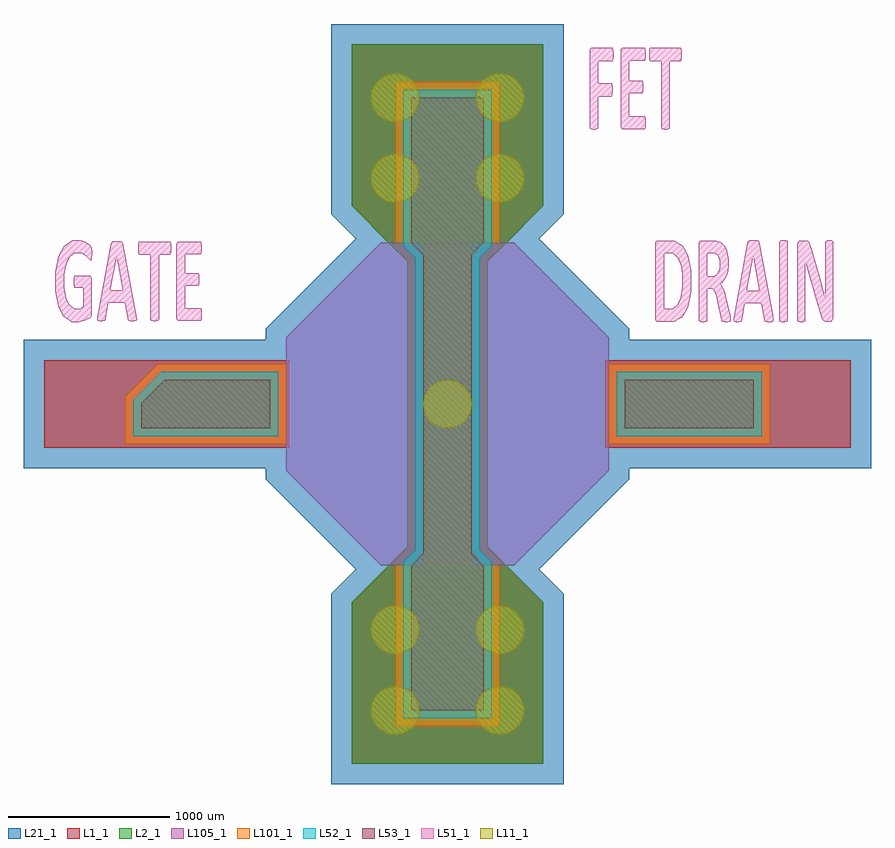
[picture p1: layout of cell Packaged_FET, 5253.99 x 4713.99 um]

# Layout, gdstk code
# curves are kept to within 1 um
import gdstk
lib = gdstk.Library(unit=1e-6, precision=1e-09)
def R(c, l, rs):  # rectangles x0, y0, x1, y1
    for r in rs: c.add(gdstk.rectangle(r[:2], r[2:], *l))
def P(c, l, *ps):  # polygons
    for p in ps: c.add(gdstk.Polygon(p, *l))
L1_1 = (1, 1)
L2_1 = (2, 1)
L11_1 = (11, 1)
L21_1 = (21, 1)
L51_1 = (51, 1)
L52_1 = (52, 1)
L53_1 = (53, 1)
L101_1 = (101, 1)
L105_1 = (105, 1)

packaged_fet = lib.new_cell('Packaged_FET')
R(packaged_fet, L1_1, [(0,-270.002,1519.936,270.002), (3479.927,-270.002,4999.99,270.002)])
P(packaged_fet, L1_1, [(2154.936,-980.059),(1905,-1229.995),(1905,-2229.993),(3094.99,-2229.993),(3094.99,-1229.995),(2749.931,-885.063),(2749.931,884.936),(3094.99,1229.995),(3094.99,2229.993),(1905,2229.993),(1905,1229.995),(2249.932,884.936),(2249.932,-885.063)])
P(packaged_fet, L2_1, [(2154.936,-980.059),(1905,-1229.995),(1905,-2229.993),(3094.99,-2229.993),(3094.99,-1229.995),(2749.931,-885.063),(2749.931,884.936),(3094.99,1229.995),(3094.99,2229.993),(1905,2229.993),(1905,1229.995),(2249.932,884.936),(2249.932,-885.063)])
P(packaged_fet, L11_1, [(2024.888,1399.921),(2027.174,1373.886),(2034.032,1348.613),(2045.081,1324.991),(2060.067,1303.528),(2078.482,1285.113),(2099.945,1270),(2123.694,1258.951),(2148.84,1252.22),(2174.875,1249.934),(2201.037,1252.22),(2226.183,1258.951),(2249.932,1270),(2271.395,1285.113),(2289.81,1303.528),(2304.796,1324.991),(2315.845,1348.613),(2322.703,1373.886),(2324.989,1399.921),(2322.703,1425.956),(2315.845,1451.229),(2304.796,1474.978),(2289.81,1496.314),(2271.395,1514.856),(2249.932,1529.842),(2226.183,1540.891),(2201.037,1547.622),(2174.875,1549.908),(2148.84,1547.622),(2123.567,1540.891),(2099.945,1529.842),(2078.482,1514.856),(2060.067,1496.314),(2045.081,1474.978),(2034.032,1451.229),(2027.174,1425.956)],
  [(2024.888,-1900.047),(2027.174,-1926.082),(2034.032,-1951.355),(2045.081,-1974.977),(2060.067,-1996.44),(2078.482,-2014.982),(2099.945,-2029.968),(2123.694,-2041.017),(2148.84,-2047.748),(2174.875,-2050.034),(2201.037,-2047.748),(2226.183,-2041.017),(2249.932,-2029.968),(2271.395,-2014.982),(2289.81,-1996.44),(2304.796,-1974.977),(2315.845,-1951.355),(2322.703,-1926.082),(2324.989,-1900.047),(2322.703,-1874.012),(2315.845,-1848.739),(2304.796,-1824.99),(2289.81,-1803.654),(2271.395,-1785.112),(2249.932,-1770.126),(2226.183,-1759.077),(2201.037,-1752.346),(2174.875,-1750.06),(2148.84,-1752.346),(2123.567,-1759.077),(2099.945,-1770.126),(2078.482,-1785.112),(2060.067,-1803.654),(2045.081,-1824.99),(2034.032,-1848.739),(2027.174,-1874.012)],
  [(2024.888,1899.92),(2027.174,1873.885),(2034.032,1848.612),(2045.081,1824.99),(2060.067,1803.527),(2078.482,1785.112),(2099.945,1769.999),(2123.694,1758.95),(2148.84,1752.219),(2174.875,1749.933),(2201.037,1752.219),(2226.183,1758.95),(2249.932,1769.999),(2271.395,1785.112),(2289.81,1803.527),(2304.796,1824.99),(2315.845,1848.612),(2322.703,1873.885),(2324.989,1899.92),(2322.703,1925.955),(2315.845,1951.228),(2304.796,1974.977),(2289.81,1996.313),(2271.395,2014.855),(2249.932,2029.841),(2226.183,2040.89),(2201.037,2047.621),(2174.875,2049.907),(2148.84,2047.621),(2123.567,2040.89),(2099.945,2029.841),(2078.482,2014.855),(2060.067,1996.313),(2045.081,1974.977),(2034.032,1951.228),(2027.174,1925.955)],
  [(2024.888,-1400.048),(2027.174,-1426.083),(2034.032,-1451.356),(2045.081,-1474.978),(2060.067,-1496.441),(2078.482,-1514.983),(2099.945,-1529.969),(2123.694,-1541.018),(2148.84,-1547.749),(2174.875,-1550.035),(2201.037,-1547.749),(2226.183,-1541.018),(2249.932,-1529.969),(2271.395,-1514.983),(2289.81,-1496.441),(2304.796,-1474.978),(2315.845,-1451.356),(2322.703,-1426.083),(2324.989,-1400.048),(2322.703,-1374.013),(2315.845,-1348.74),(2304.796,-1324.991),(2289.81,-1303.655),(2271.395,-1285.113),(2249.932,-1270.127),(2226.183,-1259.078),(2201.037,-1252.347),(2174.875,-1250.061),(2148.84,-1252.347),(2123.567,-1259.078),(2099.945,-1270.127),(2078.482,-1285.113),(2060.067,-1303.655),(2045.081,-1324.991),(2034.032,-1348.74),(2027.174,-1374.013)],
  [(2349.881,0),(2352.167,-26.035),(2359.025,-51.308),(2370.074,-75.057),(2385.06,-96.393),(2403.475,-114.935),(2424.938,-129.921),(2448.687,-140.97),(2473.833,-147.701),(2499.868,-149.987),(2526.03,-147.701),(2551.176,-140.97),(2574.925,-129.921),(2596.388,-114.935),(2614.803,-96.393),(2629.789,-75.057),(2640.838,-51.308),(2647.696,-26.035),(2649.982,0),(2647.696,26.035),(2640.838,51.308),(2629.789,74.93),(2614.803,96.393),(2596.388,114.808),(2574.925,129.921),(2551.176,140.97),(2526.03,147.701),(2499.868,149.987),(2473.833,147.701),(2448.56,140.97),(2424.938,129.921),(2403.475,114.808),(2385.06,96.393),(2370.074,74.93),(2359.025,51.308),(2352.167,26.035)],
  [(2675.001,-1400.048),(2677.287,-1426.083),(2684.018,-1451.356),(2695.067,-1474.978),(2710.053,-1496.441),(2728.468,-1514.983),(2749.931,-1529.969),(2773.68,-1541.018),(2798.953,-1547.749),(2824.988,-1550.035),(2851.023,-1547.749),(2876.296,-1541.018),(2899.918,-1529.969),(2921.381,-1514.983),(2939.796,-1496.441),(2954.909,-1474.978),(2965.958,-1451.356),(2972.689,-1426.083),(2974.975,-1400.048),(2972.689,-1374.013),(2965.958,-1348.74),(2954.909,-1324.991),(2939.796,-1303.655),(2921.381,-1285.113),(2899.918,-1270.127),(2876.296,-1259.078),(2851.023,-1252.347),(2824.988,-1250.061),(2798.953,-1252.347),(2773.68,-1259.078),(2749.931,-1270.127),(2728.468,-1285.113),(2710.053,-1303.655),(2695.067,-1324.991),(2684.018,-1348.74),(2677.287,-1374.013)],
  [(2675.001,1899.92),(2677.287,1873.885),(2684.018,1848.612),(2695.067,1824.99),(2710.053,1803.527),(2728.468,1785.112),(2749.931,1769.999),(2773.68,1758.95),(2798.953,1752.219),(2824.988,1749.933),(2851.023,1752.219),(2876.296,1758.95),(2899.918,1769.999),(2921.381,1785.112),(2939.796,1803.527),(2954.909,1824.99),(2965.958,1848.612),(2972.689,1873.885),(2974.975,1899.92),(2972.689,1925.955),(2965.958,1951.228),(2954.909,1974.977),(2939.796,1996.313),(2921.381,2014.855),(2899.918,2029.841),(2876.296,2040.89),(2851.023,2047.621),(2824.988,2049.907),(2798.953,2047.621),(2773.68,2040.89),(2749.931,2029.841),(2728.468,2014.855),(2710.053,1996.313),(2695.067,1974.977),(2684.018,1951.228),(2677.287,1925.955)],
  [(2675.001,1399.921),(2677.287,1373.886),(2684.018,1348.613),(2695.067,1324.991),(2710.053,1303.528),(2728.468,1285.113),(2749.931,1270),(2773.68,1258.951),(2798.953,1252.22),(2824.988,1249.934),(2851.023,1252.22),(2876.296,1258.951),(2899.918,1270),(2921.381,1285.113),(2939.796,1303.528),(2954.909,1324.991),(2965.958,1348.613),(2972.689,1373.886),(2974.975,1399.921),(2972.689,1425.956),(2965.958,1451.229),(2954.909,1474.978),(2939.796,1496.314),(2921.381,1514.856),(2899.918,1529.842),(2876.296,1540.891),(2851.023,1547.622),(2824.988,1549.908),(2798.953,1547.622),(2773.68,1540.891),(2749.931,1529.842),(2728.468,1514.856),(2710.053,1496.314),(2695.067,1474.978),(2684.018,1451.229),(2677.287,1425.956)],
  [(2675.001,-1900.047),(2677.287,-1926.082),(2684.018,-1951.355),(2695.067,-1974.977),(2710.053,-1996.44),(2728.468,-2014.982),(2749.931,-2029.968),(2773.68,-2041.017),(2798.953,-2047.748),(2824.988,-2050.034),(2851.023,-2047.748),(2876.296,-2041.017),(2899.918,-2029.968),(2921.381,-2014.982),(2939.796,-1996.44),(2954.909,-1974.977),(2965.958,-1951.355),(2972.689,-1926.082),(2974.975,-1900.047),(2972.689,-1874.012),(2965.958,-1848.739),(2954.909,-1824.99),(2939.796,-1803.654),(2921.381,-1785.112),(2899.918,-1770.126),(2876.296,-1759.077),(2851.023,-1752.346),(2824.988,-1750.06),(2798.953,-1752.346),(2773.68,-1759.077),(2749.931,-1770.126),(2728.468,-1785.112),(2710.053,-1803.654),(2695.067,-1824.99),(2684.018,-1848.739),(2677.287,-1874.012)])
P(packaged_fet, L21_1, [(3626.993,397.002),(3626.993,466.725),(3069.209,1024.509),(3221.99,1177.417),(3221.99,2356.993),(1778,2356.993),(1778,1177.417),(1930.781,1024.636),(1372.997,466.725),(1372.997,397.002),(-127,397.002),(-127,-397.002),(1372.997,-397.002),(1372.997,-466.852),(1930.781,-1024.636),(1778,-1177.417),(1778,-2356.993),(3221.99,-2356.993),(3221.99,-1177.417),(3069.082,-1024.636),(3626.993,-466.852),(3626.993,-397.002),(5126.99,-397.002),(5126.99,397.002)])
P(packaged_fet, L51_1, [(4435.729,994.664),(4430.903,1010.539),(4422.775,1014.857),(4408.17,1016),(4372.356,1014.857),(4364.99,1010.539),(4361.688,1002.411),(4274.693,535.559),(4273.55,519.303),(4277.614,510.286),(4288.536,508),(4307.078,508),(4318.127,509.524),(4324.096,513.842),(4326.89,521.208),(4344.797,625.094),(4356.862,625.094),(4356.862,703.707),(4395.089,917.575),(4433.443,703.707),(4356.862,703.707),(4356.862,625.094),(4446.143,625.094),(4465.066,518.922),(4467.606,512.699),(4473.829,509.143),(4506.595,508),(4518.279,509.905),(4522.851,518.16),(4519.041,548.513)],
  [(487.426,989.076),(482.727,1004.57),(474.599,1008.761),(460.121,1009.904),(424.434,1008.761),(417.195,1004.57),(413.893,996.696),(327.406,541.02),(326.136,525.145),(330.327,516.382),(341.122,514.096),(359.537,514.096),(370.459,515.62),(376.555,519.811),(379.222,526.923),(397.002,628.396),(409.067,628.396),(409.067,705.104),(447.04,913.892),(485.14,705.104),(409.067,705.104),(409.067,628.396),(497.84,628.396),(516.636,524.764),(519.176,518.668),(525.399,515.239),(557.911,514.096),(569.595,516.001),(574.167,524.002),(570.357,553.593)],
  [(295.275,950.341),(292.735,969.645),(287.147,980.313),(273.05,994.791),(251.714,1007.237),(223.139,1016),(173.99,1016),(122.301,980.313),(85.852,913.13),(65.913,816.991),(65.913,698.246),(84.582,605.917),(119.888,541.782),(170.688,508),(213.741,508),(235.585,511.81),(256.921,519.43),(276.86,529.971),(290.322,539.877),(294.64,557.022),(294.64,771.525),(292.608,783.209),(288.671,791.591),(283.464,795.782),(187.706,795.782),(184.785,791.591),(181.61,768.477),(181.61,737.362),(185.801,720.217),(240.284,720.217),(240.284,606.298),(232.664,598.678),(214.757,591.185),(187.071,591.185),(156.083,613.156),(134.112,656.463),(121.92,720.598),(121.92,801.116),(133.985,864.489),(156.337,909.701),(187.833,934.339),(225.552,934.339),(253.111,920.75),(273.05,904.748),(285.115,891.032),(289.687,891.032),(292.354,894.842),(294.259,904.367)],
  [(4893.056,998.474),(4891.024,1008.634),(4885.817,1013.333),(4876.165,1015.238),(4861.56,1015.238),(4852.035,1013.333),(4846.193,1008.634),(4843.653,1002.411),(4844.923,649.224),(4811.141,777.113),(4754.626,976.376),(4747.133,996.95),(4738.624,1008.634),(4727.702,1013.714),(4682.109,1013.714),(4670.679,995.426),(4670.679,520.827),(4672.711,514.604),(4678.172,510.286),(4687.697,508),(4702.556,508),(4712.081,510.286),(4717.796,514.604),(4720.082,520.827),(4720.082,817.626),(4718.304,901.192),(4741.545,808.736),(4813.808,553.847),(4822.19,529.336),(4831.08,514.985),(4841.748,509.524),(4876.419,509.524),(4884.039,513.842),(4889.754,523.113),(4893.056,537.21)],
  [(4012.692,829.31),(3994.785,920.369),(3960.368,982.218),(3910.076,1013.714),(3797.935,1013.714),(3788.537,998.474),(3788.537,525.526),(3797.935,510.286),(3843.274,510.286),(3843.274,933.577),(3896.106,933.577),(3927.221,908.304),(3947.033,863.092),(3956.05,801.624),(3956.05,722.376),(3945.763,656.971),(3925.189,613.029),(3894.328,591.185),(3843.274,591.185),(3843.274,510.286),(3905.123,510.286),(3957.066,539.496),(3993.261,601.726),(4012.692,700.151)],
  [(3952.875,2179.32),(3951.859,2195.703),(3949.827,2205.482),(3946.779,2209.8),(3756.787,2209.8),(3753.866,2205.482),(3751.326,2187.575),(3750.818,2156.206),(3751.834,2140.204),(3753.866,2130.425),(3756.787,2125.726),(3824.986,2125.726),(3824.986,1714.246),(3827.526,1708.023),(3833.749,1704.086),(3844.163,1701.8),(3859.657,1701.8),(3870.071,1704.086),(3876.167,1708.023),(3878.834,1714.246),(3878.834,2125.726),(3946.779,2125.726),(3949.827,2130.425),(3951.859,2140.204)],
  [(4257.802,527.431),(4252.595,555.879),(4225.925,672.973),(4217.67,701.294),(4208.272,723.519),(4197.604,739.013),(4191.508,744.474),(4204.081,751.84),(4223.639,775.97),(4236.974,808.736),(4243.832,850.265),(4243.832,905.51),(4234.307,951.865),(4216.146,985.647),(4190.111,1006.602),(4168.267,1012.063),(4154.424,1013.714),(4067.048,1013.714),(4057.777,998.474),(4057.777,520.446),(4058.92,517.398),(4060.19,514.223),(4066.54,510.286),(4077.081,508),(4093.21,508),(4103.624,510.286),(4109.847,514.223),(4112.514,520.446),(4112.514,935.482),(4146.55,935.482),(4157.218,933.196),(4175.125,924.179),(4187.19,890.016),(4187.19,848.741),(4181.348,822.325),(4169.664,803.275),(4152.138,792.734),(4112.514,792.734),(4112.514,716.153),(4138.422,716.153),(4151.757,705.993),(4161.917,686.181),(4170.299,656.59),(4199.636,520.446),(4202.176,513.842),(4208.272,509.524),(4218.686,508),(4249.928,509.524),(4256.151,513.461)],
  [(786.384,978.027),(785.368,994.029),(783.336,1003.427),(780.161,1007.618),(587.248,1007.618),(584.327,1003.427),(582.168,994.029),(581.152,955.675),(582.168,940.054),(584.327,930.529),(587.248,925.957),(656.463,925.957),(656.463,526.161),(659.13,520.192),(665.353,516.382),(675.894,514.096),(691.642,514.096),(702.31,516.382),(708.533,520.192),(711.2,526.161),(711.2,925.957),(780.161,925.957),(783.336,930.529),(785.368,940.054)],
  [(3729.863,1755.775),(3728.847,1771.015),(3726.815,1780.286),(3723.767,1784.604),(3626.866,1784.604),(3626.866,1927.225),(3708.4,1927.225),(3711.448,1931.162),(3713.48,1940.179),(3714.496,1955.038),(3713.48,1992.503),(3711.448,2001.52),(3708.4,2005.838),(3626.866,2005.838),(3626.866,2129.282),(3722.878,2129.282),(3725.799,2133.6),(3727.831,2142.998),(3728.847,2158.238),(3728.847,2180.844),(3725.799,2205.863),(3722.878,2209.8),(3582.543,2209.8),(3573.399,2194.56),(3573.399,1719.326),(3582.543,1704.086),(3723.767,1704.086),(3726.815,1708.404),(3728.847,1717.802)],
  [(3529.711,2179.32),(3528.695,2195.703),(3526.409,2205.482),(3523.615,2209.8),(3390.773,2209.8),(3381.629,2194.56),(3381.629,1714.754),(3384.169,1708.404),(3390.392,1704.086),(3400.806,1701.8),(3416.427,1701.8),(3426.714,1704.086),(3432.937,1708.404),(3435.477,1714.754),(3435.477,1907.286),(3518.281,1907.286),(3521.075,1911.604),(3523.361,1921.764),(3524.377,1937.385),(3523.361,1976.501),(3521.075,1985.899),(3518.281,1989.836),(3435.477,1989.836),(3435.477,2125.726),(3523.615,2125.726),(3526.409,2130.425),(3528.695,2139.823)],
  [(977.138,566.42),(976.122,581.279),(974.09,590.423),(970.915,594.614),(872.49,594.614),(872.49,733.171),(955.421,733.171),(958.469,736.981),(960.628,745.617),(961.644,760.095),(960.628,796.544),(958.469,805.307),(955.421,809.498),(872.49,809.498),(872.49,929.386),(970.153,929.386),(973.074,933.577),(975.106,942.721),(976.122,957.58),(976.122,979.551),(973.074,1003.808),(970.153,1007.618),(827.532,1007.618),(818.134,992.886),(818.134,531.114),(827.532,516.382),(970.915,516.382),(974.09,520.573),(976.122,529.59)],
  [(4611.878,999.617),(4611.878,1003.554),(4609.084,1009.777),(4602.861,1013.714),(4592.447,1016),(4576.445,1016),(4566.031,1013.714),(4559.554,1009.777),(4556.76,1003.554),(4556.76,520.446),(4559.554,514.223),(4565.777,510.286),(4576.445,508),(4592.447,508),(4602.861,510.286),(4609.084,514.223),(4611.878,520.446)])
R(packaged_fet, L52_1, [(3550.793,-199.263,4449.191,199.136)])
P(packaged_fet, L52_1, [(2225.802,980.948),(2300.732,906.018),(2300.732,-906.145),(2225.802,-981.075),(2225.802,-1949.196),(2774.188,-1949.196),(2774.188,-981.202),(2699.131,-906.145),(2699.131,906.018),(2774.188,981.075),(2774.188,1949.196),(2225.802,1949.196)],
  [(550.799,-199.263),(1449.197,-199.263),(1449.197,199.136),(724.154,199.136),(550.799,25.781)])
R(packaged_fet, L53_1, [(3600.793,-149.263,4399.191,149.136)])
P(packaged_fet, L53_1, [(2275.802,-1899.196),(2724.188,-1899.196),(2724.188,-1001.913),(2649.131,-926.856),(2649.131,926.729),(2724.188,1001.786),(2724.188,1899.196),(2275.802,1899.196),(2275.802,1001.659),(2350.732,926.729),(2350.732,-926.856),(2275.802,-1001.786)],
  [(600.799,-149.263),(1399.197,-149.263),(1399.197,149.136),(744.865,149.136),(600.799,5.07)])
R(packaged_fet, L101_1, [(2175.002,-1999.996,2824.988,-999.998), (2350.732,-999.998,2649.131,999.998), (3499.993,-250.063,4499.991,249.936), (2175.002,999.998,2824.988,1999.996)])
P(packaged_fet, L101_1, [(499.999,-250.063),(1499.997,-250.063),(1499.997,249.936),(703.072,249.936),(499.999,46.863)])
P(packaged_fet, L105_1, [(2085.721,-999.998),(1499.997,-414.274),(1499.997,414.147),(2085.721,999.998),(2914.142,999.998),(3499.993,414.147),(3499.993,-414.274),(2914.142,-999.998)])

lib.write_gds('Packaged_FET.gds')
